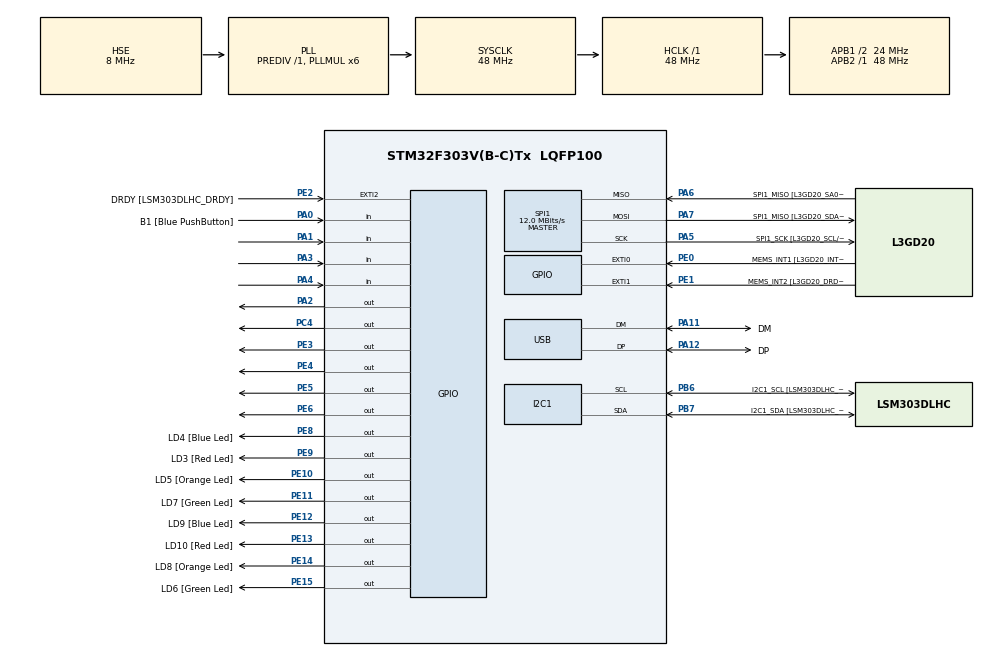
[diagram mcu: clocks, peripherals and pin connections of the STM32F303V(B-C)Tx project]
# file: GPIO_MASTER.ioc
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I2C1.Timing=0x2000090E
I2C1.Timing-I2C=0x2000090E
Mcu.Family=STM32F3
Mcu.Name=STM32F303V(B-C)Tx
Mcu.Package=LQFP100
NVIC.PriorityGroup=NVIC_PRIORITYGROUP_0
PA0.GPIO_Label=B1 [Blue PushButton]
PA0.Signal=GPIO_Input
PA1.Signal=GPIO_Input
PA11.GPIO_Label=DM
PA11.Mode=Device
PA11.Signal=USB_DM
PA12.GPIO_Label=DP
PA12.Mode=Device
PA12.Signal=USB_DP
PA13.GPIO_Label=SWDIO
PA13.Mode=Serial_Wire
PA13.Signal=SYS_JTMS-SWDIO
PA14.GPIO_Label=SWCLK
PA14.Mode=Serial_Wire
PA14.Signal=SYS_JTCK-SWCLK
PA2.Signal=GPIO_Output
PA3.Signal=GPIO_Input
PA4.Signal=GPIO_Input
PA5.GPIO_Label=SPI1_SCK [L3GD20_SCL/SPC]
PA5.Mode=Full_Duplex_Master
PA5.Signal=SPI1_SCK
PA6.GPIO_Label=SPI1_MISO [L3GD20_SA0/SDO]
PA6.Mode=Full_Duplex_Master
PA6.Signal=SPI1_MISO
PA7.GPIO_Label=SPI1_MISO [L3GD20_SDA/SDI/SDO]
PA7.Mode=Full_Duplex_Master
PA7.Signal=SPI1_MOSI
PB3.GPIO_Label=SWO
PB3.Signal=SYS_JTDO-TRACESWO
PB6.GPIO_Label=I2C1_SCL [LSM303DLHC_SCL]
PB6.GPIO_Pu=GPIO_PULLUP
PB6.Mode=I2C
PB6.Signal=I2C1_SCL
PB7.GPIO_Label=I2C1_SDA [LSM303DLHC_SDA]
PB7.GPIO_Pu=GPIO_PULLUP
PB7.Mode=I2C
PB7.Signal=I2C1_SDA
PC14-OSC32_IN.GPIO_Label=OSC32_IN
PC14-OSC32_IN.Signal=RCC_OSC32_IN
PC15-OSC32_OUT.GPIO_Label=OSC32_OUT
PC15-OSC32_OUT.Signal=RCC_OSC32_OUT
PC4.Signal=GPIO_Output
PE0.GPIO_Label=MEMS_INT1 [L3GD20_INT1]
PE0.GPIO_ModeDefaultEXTI=GPIO_MODE_EVT_RISING
PE0.Signal=GPXTI0
PE1.GPIO_Label=MEMS_INT2 [L3GD20_DRDY/INT2]
PE1.GPIO_ModeDefaultEXTI=GPIO_MODE_EVT_RISING
PE1.Signal=GPXTI1
PE10.GPIO_Label=LD5 [Orange Led]
PE10.Signal=GPIO_Output
PE11.GPIO_Label=LD7 [Green Led]
PE11.Signal=GPIO_Output
PE12.GPIO_Label=LD9 [Blue Led]
PE12.Signal=GPIO_Output
PE13.GPIO_Label=LD10 [Red Led]
PE13.Signal=GPIO_Output
PE14.GPIO_Label=LD8 [Orange Led]
PE14.Signal=GPIO_Output
PE15.GPIO_Label=LD6 [Green Led]
PE15.Signal=GPIO_Output
PE2.GPIO_Label=DRDY [LSM303DLHC_DRDY]
PE2.GPIO_ModeDefaultEXTI=GPIO_MODE_EVT_RISING
PE2.Signal=GPXTI2
PE3.Signal=GPIO_Output
PE4.Signal=GPIO_Output
PE5.Signal=GPIO_Output
PE6.Signal=GPIO_Output
PE8.GPIO_Label=LD4 [Blue Led]
PE8.Signal=GPIO_Output
PE9.GPIO_Label=LD3 [Red Led]
PE9.Signal=GPIO_Output
PF0-OSC_IN.GPIO_Label=OSC_IN
PF0-OSC_IN.Mode=HSE-External-Clock-Source
PF0-OSC_IN.Signal=RCC_OSC_IN
PF1-OSC_OUT.GPIO_Label=OSC_OUT
PF1-OSC_OUT.Signal=RCC_OSC_OUT
ProjectManager.HeapSize=0x200
ProjectManager.StackSize=0x400
ProjectManager.TargetToolchain=STM32CubeIDE
RCC.AHBFreq_Value=48000000
RCC.APB1CLKDivider=RCC_HCLK_DIV2
RCC.APB1Freq_Value=24000000
RCC.APB1TimFreq_Value=48000000
RCC.APB2Freq_Value=48000000
RCC.APB2TimFreq_Value=48000000
RCC.CortexFreq_Value=48000000
RCC.HCLKFreq_Value=48000000
RCC.HSE_VALUE=8000000
RCC.HSI_VALUE=8000000
RCC.LSE_VALUE=32768
RCC.PLLMUL=RCC_PLL_MUL6
RCC.SYSCLKFreq_VALUE=48000000
RCC.SYSCLKSourceVirtual=RCC_SYSCLKSOURCE_PLLCLK
RCC.USBFreq_Value=48000000
SPI1.BaudRatePrescaler=SPI_BAUDRATEPRESCALER_4
SPI1.BaudRatePrescaler-Full_Duplex_Master=SPI_BAUDRATEPRESCALER_2
SPI1.CalculateBaudRate=12.0 MBits/s
SPI1.CalculateBaudRate-Full_Duplex_Master=24.0 MBits/s
SPI1.Direction=SPI_DIRECTION_2LINES
SPI1.Mode=SPI_MODE_MASTER
SPI1.Mode-Full_Duplex_Master=SPI_MODE_MASTER
SPI1.VirtualType=VM_MASTER
board=STM32F3DISCOVERY

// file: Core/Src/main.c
/* USER CODE BEGIN Header */
/**
  ******************************************************************************
  * @file           : main.c
  * @brief          : Main program body
  ******************************************************************************
  * @attention
  *
  * Copyright (c) 2025 STMicroelectronics.
  * All rights reserved.
  *
  * This software is licensed under terms that can be found in the LICENSE file
  * in the root directory of this software component.
  * If no LICENSE file comes with this software, it is provided AS-IS.
  *
  ******************************************************************************
  */
/* USER CODE END Header */
#include "main.h"

/* USER CODE BEGIN Includes */
#include "serial.h"
#include "timer.h"
#include "message.h"

#include <stdio.h>
#include <string.h>
#include <stdlib.h>

/* USER CODE END Includes */

I2C_HandleTypeDef hi2c1;

SPI_HandleTypeDef hspi1;

PCD_HandleTypeDef hpcd_USB_FS;

/* USER CODE BEGIN PV */
volatile uint8_t exti_flag = 0;
volatile uint8_t pin_check_pending = 0;
/* USER CODE END PV */

void SystemClock_Config(void);
static void MX_GPIO_Init(void);
static void MX_I2C1_Init(void);
static void MX_SPI1_Init(void);
static void MX_USB_PCD_Init(void);
/* USER CODE BEGIN PFP */
void HAL_GPIO_EXTI_Callback(uint16_t GPIO_Pin);
/* USER CODE END PFP */

int main(void)
{

  /* USER CODE BEGIN 1 */
	  HAL_Init();                    // Initializes the HAL Library

	  SystemClock_Config();         // MUST be done early to configure clocks

	  MX_GPIO_Init();
	  MX_I2C1_Init();
	  MX_SPI1_Init();
	  //MX_USB_PCD_Init();

	  SerialInitialise(BAUD_115200, &USART1_PORT, &finished_transmission);
	  enable_clocks();

	  char string_to_send[128];
	  snprintf(string_to_send, sizeof(string_to_send), "Program Started!\r\n");
	  SerialOutputString((uint8_t*)string_to_send, &USART1_PORT);
	  SerialOutputString((uint8_t*)"Entering main loop...\r\n", &USART1_PORT);

  /* USER CODE END 1 */

  /* MCU Configuration--------------------------------------------------------*/

  /* Reset of all peripherals, Initializes the Flash interface and the Systick. */

  /* Infinite loop */
  /* USER CODE BEGIN WHILE */

//  GPIOA->MODER &= ~(3U << (0 * 2));      // Set PA0 as input (00)
//
//  while ((GPIOA->IDR & GPIO_IDR_0) != 0) {
//      // Loop until button is pressed (PA0 reads 0)
//  }

  while (1)
  {

      HAL_GPIO_WritePin(GPIOC, GPIO_PIN_4, GPIO_PIN_RESET);

      HAL_Delay(10);

      // Commumnication to first slave (Totem stealing) [GOING TO MAX PA4 & PE6]
      HAL_GPIO_WritePin(GPIOE, GPIO_PIN_3, GPIO_PIN_SET); // start program on slave
      HAL_Delay(10);
      HAL_GPIO_WritePin(GPIOE, GPIO_PIN_3, GPIO_PIN_RESET);  // Deactivate signal

      // Wait for slave to respond (PA1 goes high)

      while (HAL_GPIO_ReadPin(GPIOA, GPIO_PIN_1) != GPIO_PIN_SET) {

      }
      SerialOutputString((uint8_t*)"slave 1 response\r\n", &USART1_PORT);

      // WAIT for 250ms
      HAL_Delay(250);

      // Confirm that it is a high/pass signal
      if (HAL_GPIO_ReadPin(GPIOA, GPIO_PIN_1) == GPIO_PIN_SET) {
          SerialOutputString((uint8_t*)"PASS TOTEM\r\n", &USART1_PORT);
          HAL_GPIO_WritePin(GPIOA, GPIO_PIN_1, GPIO_PIN_SET);
      } else {
          SerialOutputString((uint8_t*)"FAIL TOTEM\r\n", &USART1_PORT);
          HAL_GPIO_WritePin(GPIOA, GPIO_PIN_1, GPIO_PIN_RESET);
      }
      HAL_Delay(2000);

 //     // Communication to second slave (Ball release) [GOING TO LUCAS PA2 & PE4] (send high or fake high)
      if (HAL_GPIO_ReadPin(GPIOA, GPIO_PIN_1) == GPIO_PIN_SET) {
          HAL_GPIO_WritePin(GPIOA, GPIO_PIN_2, GPIO_PIN_SET);  // Activate signal
          SerialOutputString((uint8_t*)"BOARD 2 START p\r\n", &USART1_PORT);	  // WAIT for 250ms

      } else {
          HAL_GPIO_WritePin(GPIOA, GPIO_PIN_2, GPIO_PIN_RESET);  // Deactivate signal
          SerialOutputString((uint8_t*)"BOARD 2 START f\r\n", &USART1_PORT);	  // WAIT for 250ms

      }

      HAL_GPIO_WritePin(GPIOC, GPIO_PIN_4, GPIO_PIN_SET); // start program on slave

      HAL_Delay(1000);

//
//	  //Communication to third slave (Water puzzle) [GOING TO TAYLOR PA2 & PE4]
	  HAL_GPIO_WritePin(GPIOE, GPIO_PIN_5, GPIO_PIN_SET); // start program on slave
      SerialOutputString((uint8_t*)"BOARD 3 START\r\n", &USART1_PORT);	  // WAIT for 250ms
	  HAL_Delay(10);
	  HAL_GPIO_WritePin(GPIOE, GPIO_PIN_5, GPIO_PIN_RESET);  // Deactivate signal

	  while (HAL_GPIO_ReadPin(GPIOA, GPIO_PIN_3) != GPIO_PIN_SET) {

	  }
      SerialOutputString((uint8_t*)"slave 3 response\r\n", &USART1_PORT);	  // WAIT for 250ms
	  HAL_Delay(250);

	  // Confirm that it is a high/pass signal
      if (HAL_GPIO_ReadPin(GPIOA, GPIO_PIN_1) == GPIO_PIN_SET) {
          SerialOutputString((uint8_t*)"PASS LOCK\r\n", &USART1_PORT);
      } else {
          SerialOutputString((uint8_t*)"FAIL LOCK\r\n", &USART1_PORT);
          break;  // Abort sequence if fail
      }
      HAL_Delay(200);

//      // Communication to fourth slave (GPS)
	  HAL_GPIO_WritePin(GPIOE, GPIO_PIN_6, GPIO_PIN_SET); // start program on slave
	  HAL_Delay(10);
	  HAL_GPIO_WritePin(GPIOE, GPIO_PIN_6, GPIO_PIN_RESET);  // Deactivate signal
      }

      HAL_Delay(200);

    /* USER CODE END WHILE */

}

void SystemClock_Config(void)
{
  RCC_OscInitTypeDef RCC_OscInitStruct = {0};
  RCC_ClkInitTypeDef RCC_ClkInitStruct = {0};
  RCC_PeriphCLKInitTypeDef PeriphClkInit = {0};

  /** Initializes the RCC Oscillators according to the specified parameters
  * in the RCC_OscInitTypeDef structure.
  */
  RCC_OscInitStruct.OscillatorType = RCC_OSCILLATORTYPE_HSI|RCC_OSCILLATORTYPE_HSE;
  RCC_OscInitStruct.HSEState = RCC_HSE_BYPASS;
  RCC_OscInitStruct.HSEPredivValue = RCC_HSE_PREDIV_DIV1;
  RCC_OscInitStruct.HSIState = RCC_HSI_ON;
  RCC_OscInitStruct.HSICalibrationValue = RCC_HSICALIBRATION_DEFAULT;
  RCC_OscInitStruct.PLL.PLLState = RCC_PLL_ON;
  RCC_OscInitStruct.PLL.PLLSource = RCC_PLLSOURCE_HSE;
  RCC_OscInitStruct.PLL.PLLMUL = RCC_PLL_MUL6;
  if (HAL_RCC_OscConfig(&RCC_OscInitStruct) != HAL_OK)
  {
    Error_Handler();
  }

  /** Initializes the CPU, AHB and APB buses clocks
  */
  RCC_ClkInitStruct.ClockType = RCC_CLOCKTYPE_HCLK|RCC_CLOCKTYPE_SYSCLK
                              |RCC_CLOCKTYPE_PCLK1|RCC_CLOCKTYPE_PCLK2;
  RCC_ClkInitStruct.SYSCLKSource = RCC_SYSCLKSOURCE_PLLCLK;
  RCC_ClkInitStruct.AHBCLKDivider = RCC_SYSCLK_DIV1;
  RCC_ClkInitStruct.APB1CLKDivider = RCC_HCLK_DIV2;
  RCC_ClkInitStruct.APB2CLKDivider = RCC_HCLK_DIV1;

  if (HAL_RCC_ClockConfig(&RCC_ClkInitStruct, FLASH_LATENCY_1) != HAL_OK)
  {
    Error_Handler();
  }
  PeriphClkInit.PeriphClockSelection = RCC_PERIPHCLK_USB|RCC_PERIPHCLK_I2C1;
  PeriphClkInit.I2c1ClockSelection = RCC_I2C1CLKSOURCE_HSI;
  PeriphClkInit.USBClockSelection = RCC_USBCLKSOURCE_PLL;
  if (HAL_RCCEx_PeriphCLKConfig(&PeriphClkInit) != HAL_OK)
  {
    Error_Handler();
  }
}

static void MX_I2C1_Init(void)
{

  hi2c1.Instance = I2C1;
  hi2c1.Init.Timing = 0x2000090E;
  hi2c1.Init.OwnAddress1 = 0;
  hi2c1.Init.AddressingMode = I2C_ADDRESSINGMODE_7BIT;
  hi2c1.Init.DualAddressMode = I2C_DUALADDRESS_DISABLE;
  hi2c1.Init.OwnAddress2 = 0;
  hi2c1.Init.OwnAddress2Masks = I2C_OA2_NOMASK;
  hi2c1.Init.GeneralCallMode = I2C_GENERALCALL_DISABLE;
  hi2c1.Init.NoStretchMode = I2C_NOSTRETCH_DISABLE;
  if (HAL_I2C_Init(&hi2c1) != HAL_OK)
  {
    Error_Handler();
  }

  /** Configure Analogue filter
  */
  if (HAL_I2CEx_ConfigAnalogFilter(&hi2c1, I2C_ANALOGFILTER_ENABLE) != HAL_OK)
  {
    Error_Handler();
  }

  /** Configure Digital filter
  */
  if (HAL_I2CEx_ConfigDigitalFilter(&hi2c1, 0) != HAL_OK)
  {
    Error_Handler();
  }

}

static void MX_SPI1_Init(void)
{

  /* SPI1 parameter configuration*/
  hspi1.Instance = SPI1;
  hspi1.Init.Mode = SPI_MODE_MASTER;
  hspi1.Init.Direction = SPI_DIRECTION_2LINES;
  hspi1.Init.DataSize = SPI_DATASIZE_4BIT;
  hspi1.Init.CLKPolarity = SPI_POLARITY_LOW;
  hspi1.Init.CLKPhase = SPI_PHASE_1EDGE;
  hspi1.Init.NSS = SPI_NSS_SOFT;
  hspi1.Init.BaudRatePrescaler = SPI_BAUDRATEPRESCALER_4;
  hspi1.Init.FirstBit = SPI_FIRSTBIT_MSB;
  hspi1.Init.TIMode = SPI_TIMODE_DISABLE;
  hspi1.Init.CRCCalculation = SPI_CRCCALCULATION_DISABLE;
  hspi1.Init.CRCPolynomial = 7;
  hspi1.Init.CRCLength = SPI_CRC_LENGTH_DATASIZE;
  hspi1.Init.NSSPMode = SPI_NSS_PULSE_ENABLE;
  if (HAL_SPI_Init(&hspi1) != HAL_OK)
  {
    Error_Handler();
  }

}

static void MX_USB_PCD_Init(void)
{

  hpcd_USB_FS.Instance = USB;
  hpcd_USB_FS.Init.dev_endpoints = 8;
  hpcd_USB_FS.Init.speed = PCD_SPEED_FULL;
  hpcd_USB_FS.Init.phy_itface = PCD_PHY_EMBEDDED;
  hpcd_USB_FS.Init.low_power_enable = DISABLE;
  hpcd_USB_FS.Init.battery_charging_enable = DISABLE;
  if (HAL_PCD_Init(&hpcd_USB_FS) != HAL_OK)
  {
    Error_Handler();
  }

}

static void MX_GPIO_Init(void)
{
  GPIO_InitTypeDef GPIO_InitStruct = {0};

  /* GPIO Ports Clock Enable */
  __HAL_RCC_GPIOE_CLK_ENABLE();
  __HAL_RCC_GPIOC_CLK_ENABLE();
  __HAL_RCC_GPIOF_CLK_ENABLE();
  __HAL_RCC_GPIOA_CLK_ENABLE();
  __HAL_RCC_GPIOB_CLK_ENABLE();

  /*Configure GPIO pin Output Level */
  HAL_GPIO_WritePin(GPIOE, GPIO_PIN_3|GPIO_PIN_4|GPIO_PIN_5|GPIO_PIN_6
                          |LD4_Pin|LD3_Pin|LD5_Pin|LD7_Pin
                          |LD9_Pin|LD10_Pin|LD8_Pin|LD6_Pin, GPIO_PIN_RESET);

  /*Configure GPIO pin Output Level */
  HAL_GPIO_WritePin(GPIOA, GPIO_PIN_2, GPIO_PIN_RESET);

  /*Configure GPIO pin Output Level */
  HAL_GPIO_WritePin(GPIOC, GPIO_PIN_4, GPIO_PIN_RESET);

  /*Configure GPIO pins : DRDY_Pin MEMS_INT1_Pin MEMS_INT2_Pin */
  GPIO_InitStruct.Pin = DRDY_Pin|MEMS_INT1_Pin|MEMS_INT2_Pin;
  GPIO_InitStruct.Mode = GPIO_MODE_EVT_RISING;
  GPIO_InitStruct.Pull = GPIO_NOPULL;
  HAL_GPIO_Init(GPIOE, &GPIO_InitStruct);

  /*Configure GPIO pins : PE3 PE4 PE5 PE6
                           LD4_Pin LD3_Pin LD5_Pin LD7_Pin
                           LD9_Pin LD10_Pin LD8_Pin LD6_Pin */
  GPIO_InitStruct.Pin = GPIO_PIN_3|GPIO_PIN_4|GPIO_PIN_5|GPIO_PIN_6
                          |LD4_Pin|LD3_Pin|LD5_Pin|LD7_Pin
                          |LD9_Pin|LD10_Pin|LD8_Pin|LD6_Pin;
  GPIO_InitStruct.Mode = GPIO_MODE_OUTPUT_PP;
  GPIO_InitStruct.Pull = GPIO_NOPULL;
  GPIO_InitStruct.Speed = GPIO_SPEED_FREQ_LOW;
  HAL_GPIO_Init(GPIOE, &GPIO_InitStruct);

  /*Configure GPIO pins : B1_Pin PA1 PA3 PA4 */
  GPIO_InitStruct.Pin = B1_Pin|GPIO_PIN_1|GPIO_PIN_3|GPIO_PIN_4;
  GPIO_InitStruct.Mode = GPIO_MODE_INPUT;
  GPIO_InitStruct.Pull = GPIO_NOPULL;
  HAL_GPIO_Init(GPIOA, &GPIO_InitStruct);

  /*Configure GPIO pin : PA2 */
  GPIO_InitStruct.Pin = GPIO_PIN_2;
  GPIO_InitStruct.Mode = GPIO_MODE_OUTPUT_PP;
  GPIO_InitStruct.Pull = GPIO_NOPULL;
  GPIO_InitStruct.Speed = GPIO_SPEED_FREQ_LOW;
  HAL_GPIO_Init(GPIOA, &GPIO_InitStruct);

  /*Configure GPIO pin : PC4 */
  GPIO_InitStruct.Pin = GPIO_PIN_4;
  GPIO_InitStruct.Mode = GPIO_MODE_OUTPUT_PP;
  GPIO_InitStruct.Pull = GPIO_NOPULL;
  GPIO_InitStruct.Speed = GPIO_SPEED_FREQ_LOW;
  HAL_GPIO_Init(GPIOC, &GPIO_InitStruct);

  /* USER CODE BEGIN MX_GPIO_Init_2 */

  // PINS PE3, 4, 5 & 6: outputs for each slave
  GPIO_InitStruct.Pin = GPIO_PIN_3 | GPIO_PIN_4 | GPIO_PIN_5 | GPIO_PIN_6;
  GPIO_InitStruct.Mode = GPIO_MODE_OUTPUT_PP;
  GPIO_InitStruct.Pull = GPIO_NOPULL;
  GPIO_InitStruct.Speed = GPIO_SPEED_FREQ_LOW;
  HAL_GPIO_Init(GPIOE, &GPIO_InitStruct);

  // PINS PA 1, 2, 3, 4: inputs for each slave
  GPIO_InitStruct.Pin = GPIO_PIN_1 | GPIO_PIN_2 | GPIO_PIN_3 | GPIO_PIN_4;
  GPIO_InitStruct.Mode = GPIO_MODE_INPUT;
  GPIO_InitStruct.Pull = GPIO_NOPULL;
  HAL_GPIO_Init(GPIOA, &GPIO_InitStruct);

  // MUST REPEAT FOR OTHER PINS BEING USED

  /* USER CODE END MX_GPIO_Init_2 */
}

/* USER CODE BEGIN 4 */
void HAL_GPIO_EXTI_Callback(uint16_t GPIO_Pin) {
    if (GPIO_Pin == GPIO_PIN_1) {
        exti_flag = 1;
        start_timer_ms();  // debounce timer
    }
}
/* USER CODE END 4 */

void Error_Handler(void)
{
  __disable_irq();
  while (1)
  {
  }
}
